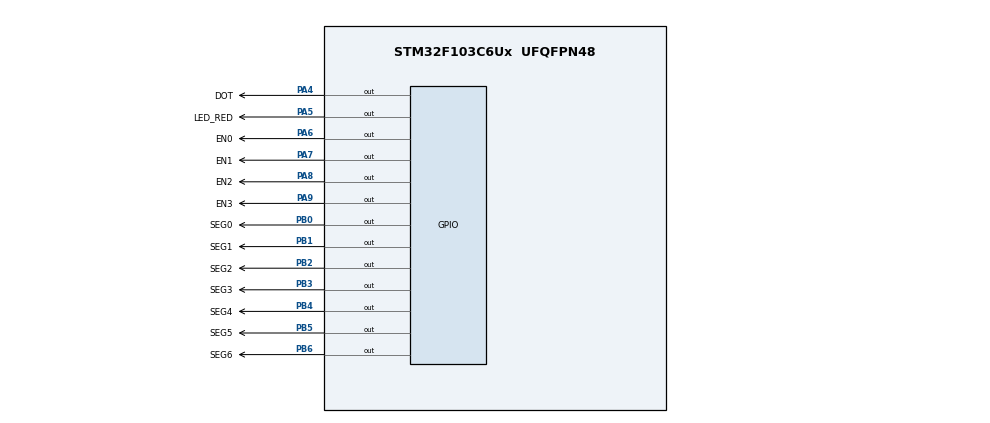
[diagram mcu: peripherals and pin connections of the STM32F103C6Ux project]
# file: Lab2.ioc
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Mcu.Family=STM32F1
Mcu.Name=STM32F103C6Ux
Mcu.Package=UFQFPN48
NVIC.PriorityGroup=NVIC_PRIORITYGROUP_4
NVIC.TIM2_IRQn=true\:0\:0\:false\:false\:true\:true\:true
PA4.GPIO_Label=DOT
PA4.Signal=GPIO_Output
PA5.GPIO_Label=LED_RED
PA5.Signal=GPIO_Output
PA6.GPIO_Label=EN0
PA6.Signal=GPIO_Output
PA7.GPIO_Label=EN1
PA7.Signal=GPIO_Output
PA8.GPIO_Label=EN2
PA8.Signal=GPIO_Output
PA9.GPIO_Label=EN3
PA9.Signal=GPIO_Output
PB0.GPIO_Label=SEG0
PB0.Signal=GPIO_Output
PB1.GPIO_Label=SEG1
PB1.Signal=GPIO_Output
PB2.GPIO_Label=SEG2
PB2.Signal=GPIO_Output
PB3.GPIO_Label=SEG3
PB3.Signal=GPIO_Output
PB4.GPIO_Label=SEG4
PB4.Signal=GPIO_Output
PB5.GPIO_Label=SEG5
PB5.Signal=GPIO_Output
PB6.GPIO_Label=SEG6
PB6.Signal=GPIO_Output
ProjectManager.HeapSize=0x200
ProjectManager.StackSize=0x400
ProjectManager.TargetToolchain=STM32CubeIDE
RCC.APB1Freq_Value=8000000
RCC.APB2Freq_Value=8000000
TIM2.Period=9
TIM2.Prescaler=7999
VP_SYS_VS_ND.Mode=No_Debug
VP_TIM2_VS_ClockSourceINT.Mode=Internal
board=custom

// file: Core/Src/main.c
/* USER CODE BEGIN Header */
/**
  ******************************************************************************
  * @file           : main.c
  * @brief          : Main program body
  ******************************************************************************
  * @attention
  *
  * <h2><center>&copy; Copyright (c) 2024 STMicroelectronics.
  * All rights reserved.</center></h2>
  *
  * This software component is licensed by ST under BSD 3-Clause license,
  * the "License"; You may not use this file except in compliance with the
  * License. You may obtain a copy of the License at:
  *                        opensource.org/licenses/BSD-3-Clause
  *
  ******************************************************************************
  */
/* USER CODE END Header */
#include "main.h"

/* USER CODE BEGIN Includes */
#include "sorfware_timer.h"
/* USER CODE END Includes */

TIM_HandleTypeDef htim2;

void SystemClock_Config(void);
static void MX_TIM2_Init(void);
static void MX_GPIO_Init(void);

/* USER CODE BEGIN 0 */
const int MAX_LED = 4;
int index_led = 0;
int led_buffer [4] = {1, 4, 0, 1};
void update7SEG ( int index ){
	switch(index){
		case 0:
			HAL_GPIO_WritePin(EN0_GPIO_Port, EN0_Pin, GPIO_PIN_RESET);
			HAL_GPIO_WritePin(EN1_GPIO_Port, EN1_Pin, GPIO_PIN_SET);
			HAL_GPIO_WritePin(EN2_GPIO_Port, EN2_Pin, GPIO_PIN_SET);
			HAL_GPIO_WritePin(EN3_GPIO_Port, EN3_Pin, GPIO_PIN_SET);
			display7SEG(led_buffer[index]);
			break;
		case 1:
			HAL_GPIO_WritePin(EN0_GPIO_Port, EN0_Pin, GPIO_PIN_SET);
			HAL_GPIO_WritePin(EN1_GPIO_Port, EN1_Pin, GPIO_PIN_RESET);
			HAL_GPIO_WritePin(EN2_GPIO_Port, EN2_Pin, GPIO_PIN_SET);
			HAL_GPIO_WritePin(EN3_GPIO_Port, EN3_Pin, GPIO_PIN_SET);
			display7SEG(led_buffer[index]);
			break;
		case 2:
			HAL_GPIO_WritePin(EN0_GPIO_Port, EN0_Pin, GPIO_PIN_SET);
			HAL_GPIO_WritePin(EN1_GPIO_Port, EN1_Pin, GPIO_PIN_SET);
			HAL_GPIO_WritePin(EN2_GPIO_Port, EN2_Pin, GPIO_PIN_RESET);
			HAL_GPIO_WritePin(EN3_GPIO_Port, EN3_Pin, GPIO_PIN_SET);
			display7SEG(led_buffer[index]);
			break;
		case 3:
			HAL_GPIO_WritePin(EN0_GPIO_Port, EN0_Pin, GPIO_PIN_SET);
			HAL_GPIO_WritePin(EN1_GPIO_Port, EN1_Pin, GPIO_PIN_SET);
			HAL_GPIO_WritePin(EN2_GPIO_Port, EN2_Pin, GPIO_PIN_SET);
			HAL_GPIO_WritePin(EN3_GPIO_Port, EN3_Pin, GPIO_PIN_RESET);
			display7SEG(led_buffer[index]);
			break;
		default:
			break;
	}
}
int hour , minute , second ;
void updateClockBuffer(){
	led_buffer[0] = hour / 10;
	led_buffer[1] = hour % 10;
	led_buffer[2] = minute / 10;
	led_buffer[3] = minute % 10;
}

/* USER CODE END 0 */

int main(void)
{

  /* MCU Configuration--------------------------------------------------------*/

  /* Reset of all peripherals, Initializes the Flash interface and the Systick. */
  HAL_Init();

  /* Configure the system clock */
  SystemClock_Config();

  /* Initialize all configured peripherals */
  MX_TIM2_Init();
  MX_GPIO_Init();
  /* USER CODE BEGIN 2 */
  HAL_TIM_Base_Start_IT(&htim2);
  /* USER CODE END 2 */

  /* Infinite loop */
  /* USER CODE BEGIN WHILE */
  hour = 15 , minute = 8 , second = 50;
  setTimer1(100);
  setTimer2(25);
  setTimer3(100);
  while (1)
  {
	  if(timer1_flag == 1){
		  setTimer1(100);
		  //TO DO
		  HAL_GPIO_TogglePin(DOT_GPIO_Port, DOT_Pin);
		  HAL_GPIO_TogglePin(LED_RED_GPIO_Port, LED_RED_Pin);
	  }
	  if(timer2_flag == 1){
		  setTimer2(25);
		  //TO DO
		  update7SEG(index_led++);
	  }
	  if(index_led == MAX_LED)index_led = 0;

	  if(timer3_flag == 1){
		  setTimer3(100);
		  //TO DO
		  second ++;
		  if ( second >= 60) {
			  second = 0;
			  minute ++;
		  }
		  if( minute >= 60) {
			  minute = 0;
			  hour ++;
		  }
		  if( hour >= 24) {
			  hour = 0;
		  }
		  updateClockBuffer () ;
	  }
    /* USER CODE END WHILE */

  }
}

void SystemClock_Config(void)
{
  RCC_OscInitTypeDef RCC_OscInitStruct = {0};
  RCC_ClkInitTypeDef RCC_ClkInitStruct = {0};

  /** Initializes the RCC Oscillators according to the specified parameters
  * in the RCC_OscInitTypeDef structure.
  */
  RCC_OscInitStruct.OscillatorType = RCC_OSCILLATORTYPE_HSI;
  RCC_OscInitStruct.HSIState = RCC_HSI_ON;
  RCC_OscInitStruct.HSICalibrationValue = RCC_HSICALIBRATION_DEFAULT;
  RCC_OscInitStruct.PLL.PLLState = RCC_PLL_NONE;
  if (HAL_RCC_OscConfig(&RCC_OscInitStruct) != HAL_OK)
  {
    Error_Handler();
  }
  /** Initializes the CPU, AHB and APB buses clocks
  */
  RCC_ClkInitStruct.ClockType = RCC_CLOCKTYPE_HCLK|RCC_CLOCKTYPE_SYSCLK
                              |RCC_CLOCKTYPE_PCLK1|RCC_CLOCKTYPE_PCLK2;
  RCC_ClkInitStruct.SYSCLKSource = RCC_SYSCLKSOURCE_HSI;
  RCC_ClkInitStruct.AHBCLKDivider = RCC_SYSCLK_DIV1;
  RCC_ClkInitStruct.APB1CLKDivider = RCC_HCLK_DIV1;
  RCC_ClkInitStruct.APB2CLKDivider = RCC_HCLK_DIV1;

  if (HAL_RCC_ClockConfig(&RCC_ClkInitStruct, FLASH_LATENCY_0) != HAL_OK)
  {
    Error_Handler();
  }
}

static void MX_TIM2_Init(void)
{

  TIM_ClockConfigTypeDef sClockSourceConfig = {0};
  TIM_MasterConfigTypeDef sMasterConfig = {0};

  htim2.Instance = TIM2;
  htim2.Init.Prescaler = 7999;
  htim2.Init.CounterMode = TIM_COUNTERMODE_UP;
  htim2.Init.Period = 9;
  htim2.Init.ClockDivision = TIM_CLOCKDIVISION_DIV1;
  htim2.Init.AutoReloadPreload = TIM_AUTORELOAD_PRELOAD_DISABLE;
  if (HAL_TIM_Base_Init(&htim2) != HAL_OK)
  {
    Error_Handler();
  }
  sClockSourceConfig.ClockSource = TIM_CLOCKSOURCE_INTERNAL;
  if (HAL_TIM_ConfigClockSource(&htim2, &sClockSourceConfig) != HAL_OK)
  {
    Error_Handler();
  }
  sMasterConfig.MasterOutputTrigger = TIM_TRGO_RESET;
  sMasterConfig.MasterSlaveMode = TIM_MASTERSLAVEMODE_DISABLE;
  if (HAL_TIMEx_MasterConfigSynchronization(&htim2, &sMasterConfig) != HAL_OK)
  {
    Error_Handler();
  }

}

static void MX_GPIO_Init(void)
{
  GPIO_InitTypeDef GPIO_InitStruct = {0};

  /* GPIO Ports Clock Enable */
  __HAL_RCC_GPIOA_CLK_ENABLE();
  __HAL_RCC_GPIOB_CLK_ENABLE();

  /*Configure GPIO pin Output Level */
  HAL_GPIO_WritePin(GPIOA, DOT_Pin|LED_RED_Pin|EN0_Pin|EN1_Pin
                          |EN2_Pin|EN3_Pin, GPIO_PIN_RESET);

  /*Configure GPIO pin Output Level */
  HAL_GPIO_WritePin(GPIOB, SEG0_Pin|SEG1_Pin|SEG2_Pin|SEG3_Pin
                          |SEG4_Pin|SEG5_Pin|SEG6_Pin, GPIO_PIN_RESET);

  /*Configure GPIO pins : DOT_Pin LED_RED_Pin EN0_Pin EN1_Pin
                           EN2_Pin EN3_Pin */
  GPIO_InitStruct.Pin = DOT_Pin|LED_RED_Pin|EN0_Pin|EN1_Pin
                          |EN2_Pin|EN3_Pin;
  GPIO_InitStruct.Mode = GPIO_MODE_OUTPUT_PP;
  GPIO_InitStruct.Pull = GPIO_NOPULL;
  GPIO_InitStruct.Speed = GPIO_SPEED_FREQ_LOW;
  HAL_GPIO_Init(GPIOA, &GPIO_InitStruct);

  /*Configure GPIO pins : SEG0_Pin SEG1_Pin SEG2_Pin SEG3_Pin
                           SEG4_Pin SEG5_Pin SEG6_Pin */
  GPIO_InitStruct.Pin = SEG0_Pin|SEG1_Pin|SEG2_Pin|SEG3_Pin
                          |SEG4_Pin|SEG5_Pin|SEG6_Pin;
  GPIO_InitStruct.Mode = GPIO_MODE_OUTPUT_PP;
  GPIO_InitStruct.Pull = GPIO_NOPULL;
  GPIO_InitStruct.Speed = GPIO_SPEED_FREQ_LOW;
  HAL_GPIO_Init(GPIOB, &GPIO_InitStruct);

}

/* USER CODE BEGIN 4 */
void HAL_TIM_PeriodElapsedCallback(TIM_HandleTypeDef *htim){
	timerRun();
}
/* USER CODE END 4 */

void Error_Handler(void)
{
  __disable_irq();
  while (1)
  {
  }
}

/************************ (C) COPYRIGHT STMicroelectronics *****END OF FILE****/
